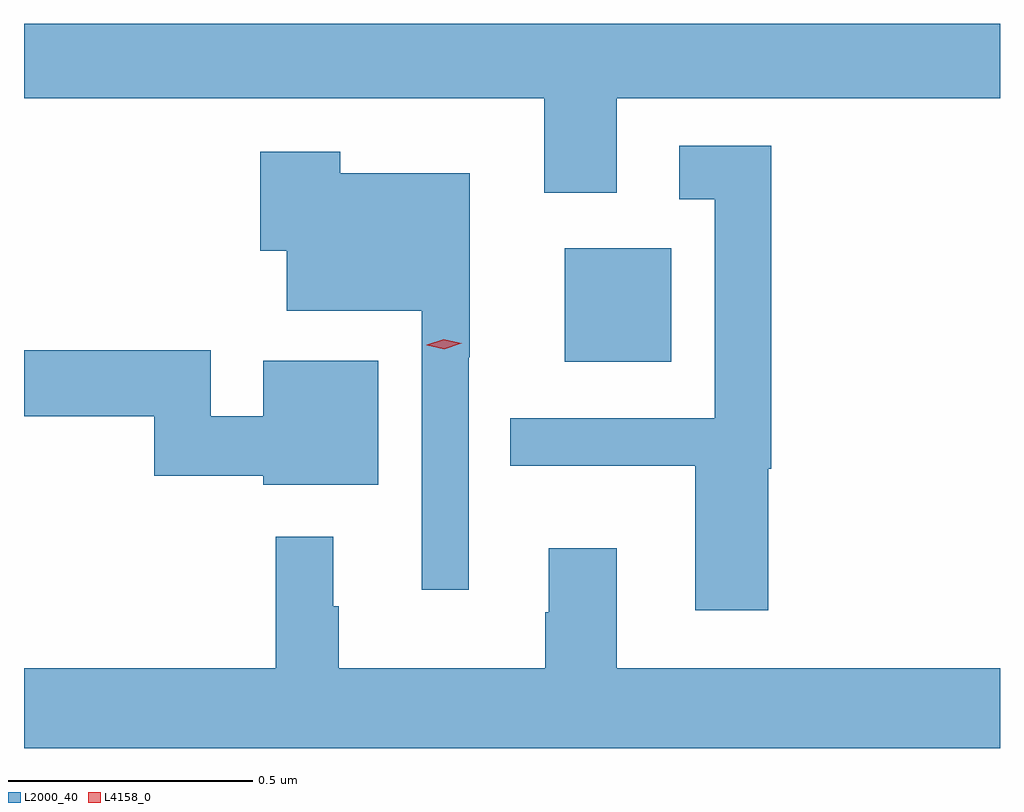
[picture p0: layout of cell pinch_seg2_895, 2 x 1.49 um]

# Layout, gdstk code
import gdstk
lib = gdstk.Library(unit=1e-6, precision=1e-09)
def R(c, l, rs):  # rectangles x0, y0, x1, y1
    for r in rs: c.add(gdstk.rectangle(r[:2], r[2:], *l))
def P(c, l, *ps):  # polygons
    for p in ps: c.add(gdstk.Polygon(p, *l))
L2000_40 = (2000, 40)
L4158_0 = (4158, 0)

pinch_seg2_895 = lib.new_cell('pinch_seg2_895')
R(pinch_seg2_895, L2000_40, [(562.466,601.808,562.684,602.041)])
P(pinch_seg2_895, L2000_40, [(562.573,602.348),(563.358,602.348),(563.358,602.501),(561.358,602.501),(561.358,602.348),(562.424,602.348),(562.424,602.154),(562.573,602.154)],
  [(562.883,601.589),(562.889,601.589),(562.889,602.251),(562.701,602.251),(562.701,602.141),(562.773,602.141),(562.773,601.692),(562.354,601.692),(562.354,601.595),(562.733,601.595),(562.733,601.299),(562.883,601.299)],
  [(562.269,601.817),(562.271,601.817),(562.271,602.194),(562.006,602.194),(562.006,602.239),(561.842,602.239),(561.842,602.036),(561.896,602.036),(561.896,601.913),(562.173,601.913),(562.173,601.341),(562.269,601.341)],
  [(562.084,601.81),(561.848,601.81),(561.848,601.696),(561.741,601.696),(561.741,601.832),(561.358,601.832),(561.358,601.696),(561.625,601.696),(561.625,601.575),(561.848,601.575),(561.848,601.556),(562.084,601.556)],
  [(563.358,601.18),(562.573,601.18),(562.573,601.426),(562.433,601.426),(562.433,601.295),(562.426,601.295),(562.426,601.18),(562.003,601.18),(562.003,601.307),(561.992,601.307),(561.992,601.45),(561.874,601.45),(561.874,601.18),(561.358,601.18),(561.358,601.016),(563.358,601.016)])
P(pinch_seg2_895, L4158_0, [(562.219,601.834),(562.183,601.842),(562.183,601.843),(562.183,601.843),(562.218,601.854),(562.255,601.846),(562.255,601.846),(562.255,601.846)])

lib.write_gds('pinch_seg2_895.gds')
